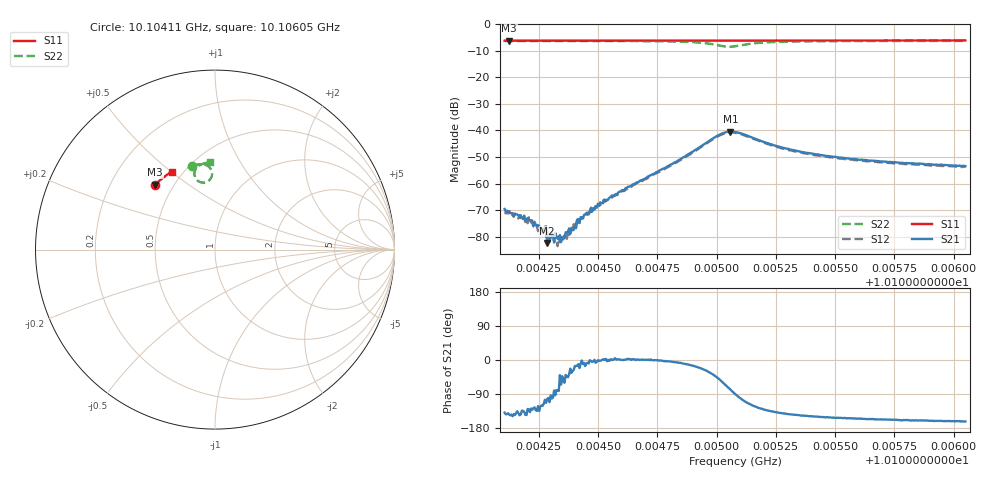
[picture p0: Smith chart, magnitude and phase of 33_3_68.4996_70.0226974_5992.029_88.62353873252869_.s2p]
#  HZ  S  RI  R  50.00
! Rohde & Schwarz Vector Network Analyzer
! Rohde-Schwarz,ZNB20-2Port,1311601062101988,3.16
! Created: UTC 3/20/2024, 4:50:01 PM
! freq[Hz]  re:S11  im:S11  re:S21  im:S21  re:S12  im:S12  re:S22  im:S22
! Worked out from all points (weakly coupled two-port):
!   401 points, 10.10411 GHz to 10.10605 GHz, reference 50 ohm
!   highest |S21| = -40.44 dB at 10.10506 GHz (marker M1); lowest = -82.4 dB at 10.10429 GHz (marker M2)
!   lowest |S11| = -6.2 dB at 10.10413 GHz (marker M3), VSWR 2.93, Z = 19.9 + j18.9 ohm
!   |S11| at or under -10 dB: nowhere
!   |S22| runs from -8.5 to -6.2 dB; largest |S21 - S12| = 0.00094
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1.0104106e10  -0.334 0.3607  -0.00025 -0.000219  -0.000206 -0.000201  -0.1274 0.467
1.0104125e10  -0.3331 0.3614  -0.000244 -0.000177  -0.000182 -0.000177  -0.1259 0.4674
1.0104217e10  -0.329 0.3657  -0.000125 -0.000161  -0.000118 -0.000142  -0.1193 0.4693
1.0104261e10  -0.3271 0.3674  -6.65e-05 -0.000115  -5.91e-05 -0.00012  -0.1158 0.4702
1.0104271e10  -0.3267 0.368  -5.64e-05 -0.00012  -4.1e-05 -0.000125  -0.1151 0.4704
1.0104285e10  -0.3261 0.3685  -1.62e-05 -7.39e-05  -4.42e-05 -0.000114  -0.1139 0.4706
1.0104295e10  -0.3256 0.3689  -2.91e-05 -7.42e-05  -4.16e-05 -9.55e-05  -0.1131 0.4708
1.0104349e10  -0.3234 0.3712  7.14e-05 -6.62e-05  4.69e-05 -7.73e-05  -0.1091 0.4717
1.0104373e10  -0.3221 0.3721  8.79e-05 -8.96e-05  9.98e-05 -7.45e-05  -0.107 0.4722
1.0104397e10  -0.3213 0.3733  0.000121 -5.86e-05  0.000163 -5.4e-05  -0.105 0.4727
1.0104422e10  -0.3201 0.3742  0.000168 -6.53e-05  0.00019 -5.03e-05  -0.1028 0.4732
1.0104431e10  -0.3196 0.3746  0.00023 -4.59e-06  0.000217 -2.61e-05  -0.1021 0.4733
1.0104519e10  -0.3157 0.3782  0.000427 9.41e-06  0.000399 3.07e-05  -0.094 0.4747
1.0104757e10  -0.3046 0.3879  0.00174 -4.38e-05  0.00164 0.000125  -0.0647 0.475
1.0104908e10  -0.2976 0.3937  0.00403 -0.00118  0.00396 -0.000768  -0.0317 0.459
1.0105e10  -0.293 0.3969  0.00548 -0.00548  0.00575 -0.00478  -0.0183 0.4079
1.0105058e10  -0.2903 0.3988  0.002 -0.00929  0.00272 -0.00874  -0.0629 0.3731
1.0105078e10  -0.2897 0.3995  8.1e-05 -0.00938  0.000909 -0.00898  -0.0831 0.3763
1.0105248e10  -0.2819 0.4061  -0.00381 -0.00349  -0.00337 -0.00367  -0.1043 0.4536
1.0105404e10  -0.2744 0.4119  -0.00315 -0.00191  -0.00283 -0.00208  -0.0829 0.4716
1.0105729e10  -0.2579 0.4232  -0.00235 -0.00099  -0.00216 -0.00115  -0.0517 0.4825
1.010605e10  -0.2418 0.4338  -0.00203 -0.000654  -0.00188 -0.000825  -0.0271 0.4866
